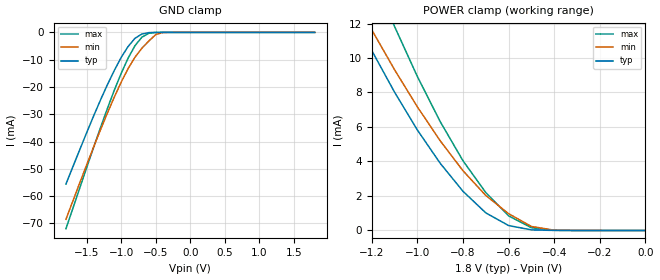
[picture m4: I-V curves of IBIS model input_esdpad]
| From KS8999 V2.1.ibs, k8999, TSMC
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|   Model input_esdpad
[Model]   input_esdpad
Model_type   Input
Polarity   Non-Inverting
Vinl =   0.8V
Vinh =   2.0V
C_comp   1.46e-12F   1.57e-12F   1.38e-12F
[Temperature Range]   25   125   0
[Voltage Range]   1.80V   1.62V   1.98V
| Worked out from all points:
|   GND clamp passes 1 mA (typ) near -0.73 V on its own axis
|   POWER clamp passes 1 mA (typ) near -0.70 V on its own axis
[POWER_clamp]
| voltage   I(typ)   I(min)   I(max)
-1.8V     28.38mA    32.32mA    37.32mA
-1.3V     13.04mA    14.08mA    18.3mA
-1.2V     10.42mA    11.62mA    14.95mA
-1.1V     8.007mA    9.309mA    11.81mA
-1V       5.818mA    7.159mA    8.915mA
-900mV    3.891mA    5.194mA    6.306mA
-800mV    2.267mA    3.458mA    4.035mA
-700mV    1.018mA    2.025mA    2.194mA
-600mV    284.3uA    971uA      845.6uA
-500mV    34.12uA    232.7uA    157.2uA
-400mV    2.213uA    15.03uA    10.56uA
0V        45.02pA    704.9pA    48.89pA
[GND_clamp]
| voltage   I(typ)   I(min)   I(max)
-1.8V     -55.57mA   -68.5mA    -71.92mA
-1.4V     -30.65mA   -42.02mA   -42.14mA
-1.2V     -19.16mA   -29.56mA   -27.88mA
-1.1V     -13.93mA   -23.69mA   -21.16mA
-1V       -9.143mA   -18.19mA   -14.97mA
-900mV    -5.155mA   -13.24mA   -9.402mA
-800mV    -2.14mA    -9.061mA   -4.837mA
-700mV    -575.1uA   -5.769mA   -1.737mA
-600mV    -84.64uA   -3.144mA   -321.5uA
-500mV    -8.71uA    -795.6uA   -30.91uA
-400mV    -631.1nA   -45.08uA   -1.916uA
1.8V      45.02pA    38.01nA    39.02pA
